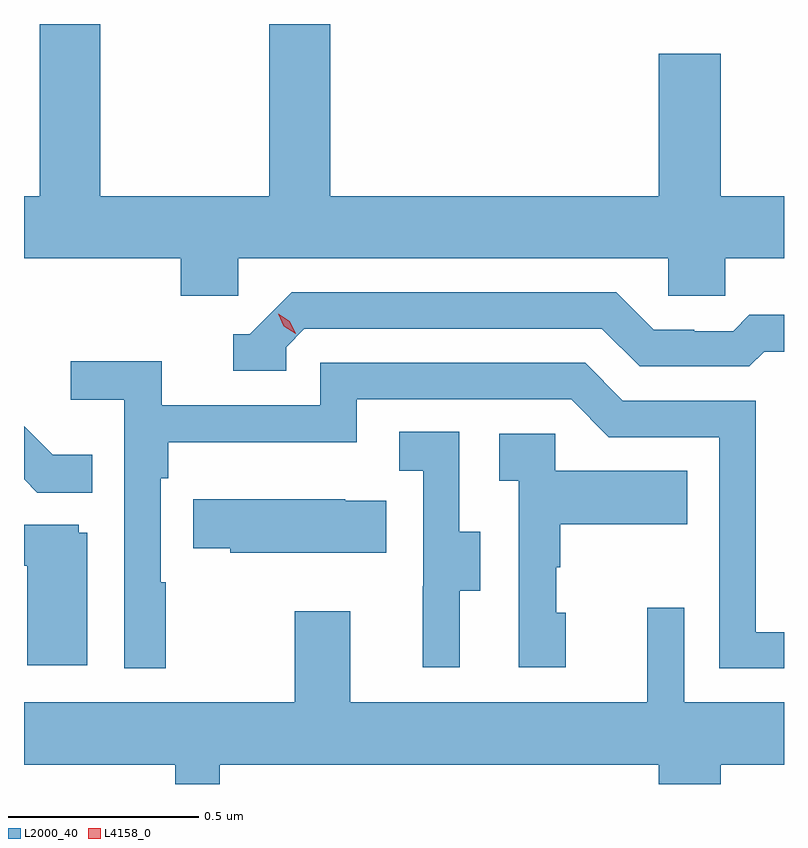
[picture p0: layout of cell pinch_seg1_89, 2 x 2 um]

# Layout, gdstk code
import gdstk
lib = gdstk.Library(unit=1e-6, precision=1e-09)
def P(c, l, *ps):  # polygons
    for p in ps: c.add(gdstk.Polygon(p, *l))
L2000_40 = (2000, 40)
L4158_0 = (4158, 0)

pinch_seg1_89 = lib.new_cell('pinch_seg1_89')
P(pinch_seg1_89, L2000_40, [(1074.99,575.708),(1076.121,575.708),(1076.121,575.61),(1076.271,575.61),(1076.271,575.708),(1076.426,575.708),(1076.426,575.872),(1076.26,575.872),(1076.26,576.247),(1076.096,576.247),(1076.096,575.872),(1075.232,575.872),(1075.232,576.325),(1075.072,576.325),(1075.072,575.872),(1074.627,575.872),(1074.627,576.325),(1074.467,576.325),(1074.467,575.872),(1074.426,575.872),(1074.426,575.708),(1074.839,575.708),(1074.839,575.61),(1074.99,575.61)],
  [(1075.116,575.475),(1075.164,575.523),(1075.947,575.523),(1076.046,575.424),(1076.335,575.424),(1076.374,575.463),(1076.426,575.463),(1076.426,575.56),(1076.335,575.56),(1076.293,575.517),(1076.19,575.517),(1076.19,575.52),(1076.083,575.52),(1075.984,575.619),(1075.131,575.619),(1075.02,575.508),(1074.977,575.508),(1074.977,575.412),(1075.116,575.412)],
  [(1074.799,574.856),(1074.786,574.856),(1074.786,575.129),(1074.806,575.129),(1074.806,575.225),(1075.302,575.225),(1075.302,575.337),(1075.866,575.337),(1075.965,575.238),(1076.256,575.238),(1076.256,574.629),(1076.426,574.629),(1076.426,574.725),(1076.352,574.725),(1076.352,575.334),(1076.002,575.334),(1075.903,575.433),(1075.206,575.433),(1075.206,575.322),(1074.788,575.322),(1074.788,575.438),(1074.549,575.438),(1074.549,575.336),(1074.69,575.336),(1074.69,574.629),(1074.799,574.629)],
  [(1074.605,575.191),(1074.501,575.191),(1074.426,575.266),(1074.426,575.127),(1074.461,575.092),(1074.605,575.092)],
  [(1075.573,574.834),(1075.627,574.834),(1075.627,574.989),(1075.572,574.989),(1075.572,575.252),(1075.413,575.252),(1075.413,575.149),(1075.476,575.149),(1075.476,574.845),(1075.475,574.845),(1075.475,574.632),(1075.573,574.632)],
  [(1075.852,574.776),(1075.827,574.776),(1075.827,574.895),(1075.837,574.895),(1075.837,575.009),(1076.171,575.009),(1076.171,575.149),(1075.824,575.149),(1075.824,575.247),(1075.677,575.247),(1075.677,575.123),(1075.728,575.123),(1075.728,574.632),(1075.852,574.632)],
  [(1075.379,575.071),(1075.271,575.071),(1075.271,575.074),(1074.871,575.074),(1074.871,574.945),(1074.969,574.945),(1074.969,574.934),(1075.379,574.934)],
  [(1074.592,574.986),(1074.57,574.986),(1074.57,575.007),(1074.426,575.007),(1074.426,574.899),(1074.434,574.899),(1074.434,574.638),(1074.592,574.638)],
  [(1074.941,574.376),(1076.096,574.376),(1076.096,574.325),(1076.26,574.325),(1076.26,574.376),(1076.426,574.376),(1076.426,574.54),(1076.163,574.54),(1076.163,574.789),(1076.066,574.789),(1076.066,574.54),(1075.285,574.54),(1075.285,574.78),(1075.138,574.78),(1075.138,574.54),(1074.426,574.54),(1074.426,574.376),(1074.824,574.376),(1074.824,574.325),(1074.941,574.325)])
P(pinch_seg1_89, L4158_0, [(1075.141,575.51),(1075.11,575.53),(1075.095,575.562),(1075.095,575.563),(1075.095,575.563),(1075.125,575.543),(1075.141,575.511),(1075.141,575.51)])

lib.write_gds('pinch_seg1_89.gds')
